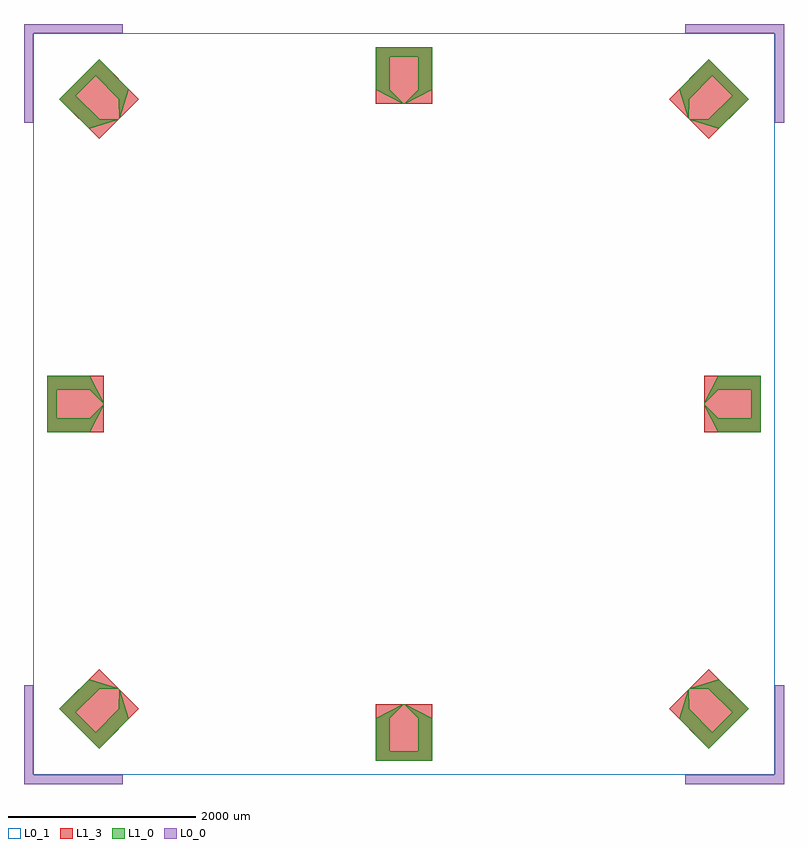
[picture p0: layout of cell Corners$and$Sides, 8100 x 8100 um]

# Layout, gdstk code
from math import pi, radians
import gdstk
lib = gdstk.Library(unit=1e-6, precision=1e-09)
def R(c, l, rs):  # rectangles x0, y0, x1, y1
    for r in rs: c.add(gdstk.rectangle(r[:2], r[2:], *l))
def P(c, l, *ps):  # polygons
    for p in ps: c.add(gdstk.Polygon(p, *l))
L0_0 = (0, 0)
L0_1 = (0, 1)
L1_0 = (1, 0)
L1_3 = (1, 3)

launcher = lib.new_cell('Launcher')
P(launcher, L1_0, [(-300,-300),(-300,150),(-11,300),(-5,300),(-150,150),(-150,-200),(150,-200),(150,150),(5,300),(11,300),(300,150),(300,-300)])
R(launcher, L1_3, [(-300,-300,300,300)])

corners_and_sides = lib.new_cell('Corners$and$Sides')
P(corners_and_sides, L0_0, [(-4050,-4050),(-4050,-3000),(-3950,-3000),(-3950,-3950),(-3000,-3950),(-3000,-4050)],
  [(3000,-4050),(3000,-3950),(3950,-3950),(3950,-3000),(4050,-3000),(4050,-4050)],
  [(-4050,3000),(-4050,4050),(-3000,4050),(-3000,3950),(-3950,3950),(-3950,3000)],
  [(3950,3000),(3950,3950),(3000,3950),(3000,4050),(4050,4050),(4050,3000)])
R(corners_and_sides, L0_1, [(-3950,-3950,3950,3950)])
corners_and_sides.add(gdstk.Reference(launcher, (3500,0), rotation=pi/2))
corners_and_sides.add(gdstk.Reference(launcher, (0,3500), rotation=pi))
corners_and_sides.add(gdstk.Reference(launcher, (-3500,0), rotation=3*pi/2))
corners_and_sides.add(gdstk.Reference(launcher, (0,-3500)))
corners_and_sides.add(gdstk.Reference(launcher, (3250,-3250), rotation=radians(45)))
corners_and_sides.add(gdstk.Reference(launcher, (3250,3250), rotation=radians(135)))
corners_and_sides.add(gdstk.Reference(launcher, (-3250,3250), rotation=radians(225)))
corners_and_sides.add(gdstk.Reference(launcher, (-3250,-3250), rotation=radians(315)))

lib.write_gds('Corners_and_Sides.gds')
